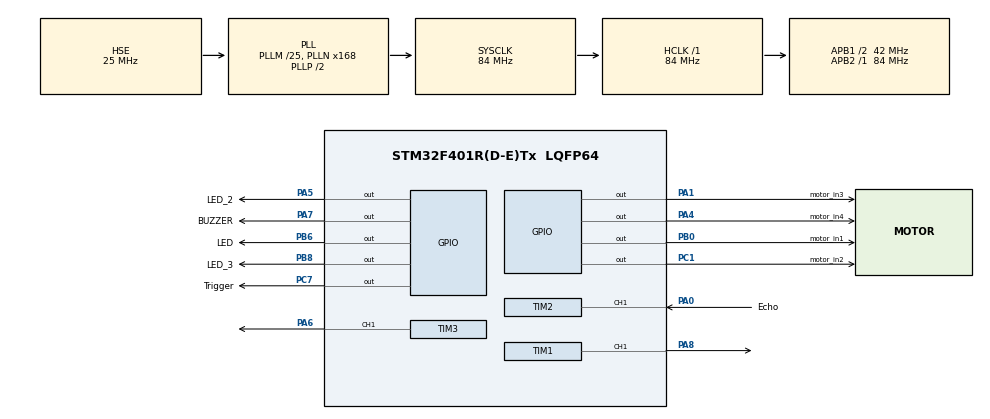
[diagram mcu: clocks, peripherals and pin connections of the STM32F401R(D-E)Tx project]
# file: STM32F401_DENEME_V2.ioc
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Mcu.Family=STM32F4
Mcu.Name=STM32F401R(D-E)Tx
Mcu.Package=LQFP64
NVIC.PriorityGroup=NVIC_PRIORITYGROUP_4
PA0-WKUP.GPIO_Label=Echo
PA0-WKUP.Signal=S_TIM2_CH1_ETR
PA1.GPIO_Label=motor_in3
PA1.Signal=GPIO_Output
PA13.Mode=Serial_Wire
PA13.Signal=SYS_JTMS-SWDIO
PA14.Mode=Serial_Wire
PA14.Signal=SYS_JTCK-SWCLK
PA4.GPIO_Label=motor_in4
PA4.Signal=GPIO_Output
PA5.GPIO_Label=LED_2
PA5.Signal=GPIO_Output
PA6.Signal=S_TIM3_CH1
PA7.GPIO_Label=BUZZER
PA7.Signal=GPIO_Output
PA8.Signal=S_TIM1_CH1
PB0.GPIO_Label=motor_in1
PB0.Signal=GPIO_Output
PB6.GPIO_Label=LED
PB6.Signal=GPIO_Output
PB8.GPIO_Label=LED_3
PB8.Signal=GPIO_Output
PC1.GPIO_Label=motor_in2
PC1.Signal=GPIO_Output
PC7.GPIO_Label=Trigger
PC7.Signal=GPIO_Output
PH0\ -\ OSC_IN.Mode=HSE-External-Oscillator
PH0\ -\ OSC_IN.Signal=RCC_OSC_IN
PH1\ -\ OSC_OUT.Mode=HSE-External-Oscillator
PH1\ -\ OSC_OUT.Signal=RCC_OSC_OUT
ProjectManager.HeapSize=0x200
ProjectManager.StackSize=0x400
ProjectManager.TargetToolchain=STM32CubeIDE
RCC.48MHZClocksFreq_Value=42000000
RCC.AHBFreq_Value=84000000
RCC.APB1CLKDivider=RCC_HCLK_DIV2
RCC.APB1Freq_Value=42000000
RCC.APB1TimFreq_Value=84000000
RCC.APB2Freq_Value=84000000
RCC.APB2TimFreq_Value=84000000
RCC.CortexFreq_Value=84000000
RCC.HCLKFreq_Value=84000000
RCC.HSE_VALUE=25000000
RCC.HSI_VALUE=16000000
RCC.LSE_VALUE=32768
RCC.PLLM=25
RCC.PLLN=168
RCC.PLLSourceVirtual=RCC_PLLSOURCE_HSE
RCC.SYSCLKFreq_VALUE=84000000
RCC.SYSCLKSource=RCC_SYSCLKSOURCE_PLLCLK
RCC.VCOOutputFreq_Value=168000000
SH.S_TIM1_CH1.0=TIM1_CH1,PWM Generation1 CH1
SH.S_TIM2_CH1_ETR.0=TIM2_CH1,Input_Capture1_from_TI1
SH.S_TIM3_CH1.0=TIM3_CH1,PWM Generation1 CH1
TIM1.Channel-PWM\ Generation1\ CH1=TIM_CHANNEL_1
TIM1.Period=1000
TIM1.Prescaler=84
TIM1.Pulse-PWM\ Generation1\ CH1=16
TIM2.Channel-Input_Capture1_from_TI1=TIM_CHANNEL_1
TIM2.Period=4294967295-1
TIM2.Prescaler=84-1
TIM3.Channel-PWM\ Generation1\ CH1=TIM_CHANNEL_1
TIM3.Period=1000
TIM3.Prescaler=84
TIM3.Pulse-PWM\ Generation1\ CH1=16
VP_TIM1_VS_ClockSourceINT.Mode=Internal
VP_TIM2_VS_ClockSourceINT.Mode=Internal
VP_TIM3_VS_ClockSourceINT.Mode=Internal
board=custom

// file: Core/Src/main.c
/* USER CODE BEGIN Header */
/**
  ******************************************************************************
  * @file           : main.c
  * @brief          : Main program body
  ******************************************************************************
  * @attention
  *
  * Copyright (c) 2023 STMicroelectronics.
  * All rights reserved.
  *
  * This software is licensed under terms that can be found in the LICENSE file
  * in the root directory of this software component.
  * If no LICENSE file comes with this software, it is provided AS-IS.
  *
  ******************************************************************************
  */
/* USER CODE END Header */
#include "main.h"

TIM_HandleTypeDef htim1;
TIM_HandleTypeDef htim2;
TIM_HandleTypeDef htim3;

/* USER CODE BEGIN PV */

uint32_t sensor_time; 						// Sensor suresini hesaplamak icin degisken tanimliyoruz
float distance =0; 						    // Mesafe bilgisini tutmak icin bir degisken tanimliyoruz

/* USER CODE END PV */

void SystemClock_Config(void);
static void MX_GPIO_Init(void);
static void MX_TIM1_Init(void);
static void MX_TIM2_Init(void);
static void MX_TIM3_Init(void);
/* USER CODE BEGIN PFP */

void delay(uint16_t us) 				    // Mikro saniye elde edebilmek icin bir fonksiyon
{
  __HAL_TIM_SET_COUNTER(&htim2,0);
  while(__HAL_TIM_GET_COUNTER(&htim2) < us);
}

float Sensor_Read() 				    	// Sensor suresini hesaplamak icin bir fonksiyon
{
	uint32_t time =0;

	HAL_GPIO_WritePin(Trigger_GPIO_Port, Trigger_Pin, GPIO_PIN_RESET);
	delay(2);
	HAL_GPIO_WritePin(Trigger_GPIO_Port, Trigger_Pin, GPIO_PIN_SET);
	delay(10);
	HAL_GPIO_WritePin(Trigger_GPIO_Port, Trigger_Pin, GPIO_PIN_RESET);

	while(!HAL_GPIO_ReadPin(Echo_GPIO_Port, Echo_Pin));
	while(HAL_GPIO_ReadPin(Echo_GPIO_Port, Echo_Pin))
	{
		time++;
		delay(1);
	}
	return time;
}

/* USER CODE END PFP */

int main(void)
{

  /* MCU Configuration----------------------------------------------------
   * ----*/

  /* Reset of all peripherals, Initializes the Flash interface and the Systick. */

    	HAL_Init();

  /* Configure the system clock */
  SystemClock_Config();

  /* Initialize all configured peripherals */
  MX_GPIO_Init();
  MX_TIM1_Init();
  MX_TIM2_Init();
  MX_TIM3_Init();
  /* USER CODE BEGIN 2 */

  HAL_TIM_PWM_Start(&htim1, TIM_CHANNEL_1);
  HAL_TIM_PWM_Start(&htim3, TIM_CHANNEL_1);
  HAL_TIM_Base_Start(&htim2);// TIMER'i baslatiyoruz

  /* USER CODE END 2 */

  /* Infinite loop */
  /* USER CODE BEGIN WHILE */
  while (1)
  {

	  sensor_time = Sensor_Read(); 	// sensorede gecen sureyi aliyoruz
      HAL_Delay(200);// 200 ms bekliyoruz
	  distance  = sensor_time * .034/2; // mesafeyi hesapliyoruz

	  HAL_GPIO_WritePin(LED_3_GPIO_Port, LED_3_Pin, GPIO_PIN_SET);
	  HAL_Delay(50);
	  HAL_GPIO_WritePin(LED_3_GPIO_Port, LED_3_Pin, GPIO_PIN_RESET);
	  HAL_Delay(50);
	  if(distance>=40){

				  HAL_GPIO_WritePin(GPIOA, motor_in3_Pin, GPIO_PIN_RESET);
				  HAL_GPIO_WritePin(GPIOA, motor_in4_Pin, GPIO_PIN_RESET);
				  HAL_GPIO_WritePin(GPIOB, motor_in1_Pin, GPIO_PIN_RESET);
				  HAL_GPIO_WritePin(GPIOC, motor_in2_Pin, GPIO_PIN_RESET);
				  TIM1->CCR1=0;
				  TIM3->CCR1=0;
				  HAL_Delay(500);

				  HAL_GPIO_WritePin(GPIOA, motor_in3_Pin, GPIO_PIN_SET);
				  HAL_GPIO_WritePin(GPIOA, motor_in4_Pin, GPIO_PIN_RESET);
				  HAL_GPIO_WritePin(GPIOB, motor_in1_Pin, GPIO_PIN_RESET);
				  HAL_GPIO_WritePin(GPIOC, motor_in2_Pin, GPIO_PIN_SET);
				  TIM1->CCR1=900;
				  TIM3->CCR1=900;
				  HAL_Delay(400);

				  HAL_GPIO_WritePin(GPIOA, motor_in3_Pin, GPIO_PIN_SET);
				  HAL_GPIO_WritePin(GPIOA, motor_in4_Pin, GPIO_PIN_RESET);
				  HAL_GPIO_WritePin(GPIOB, motor_in1_Pin, GPIO_PIN_RESET);
				  HAL_GPIO_WritePin(GPIOC, motor_in2_Pin, GPIO_PIN_RESET);
				  TIM1->CCR1=900;
				  TIM3->CCR1=900;
	  }else if(distance>=20 && distance<40){
					  HAL_GPIO_WritePin(GPIOA, motor_in3_Pin, GPIO_PIN_SET);
					  HAL_GPIO_WritePin(GPIOA, motor_in4_Pin, GPIO_PIN_RESET);
					  HAL_GPIO_WritePin(GPIOB, motor_in1_Pin, GPIO_PIN_RESET);
					  HAL_GPIO_WritePin(GPIOC, motor_in2_Pin, GPIO_PIN_SET);
					  TIM1->CCR1=900;
					  TIM3->CCR1=900;

				  } else if(distance>=10 && distance<20){
					  HAL_GPIO_WritePin(GPIOA, motor_in3_Pin, GPIO_PIN_SET);
					  HAL_GPIO_WritePin(GPIOA, motor_in4_Pin, GPIO_PIN_RESET);
					  HAL_GPIO_WritePin(GPIOB, motor_in1_Pin, GPIO_PIN_RESET);
					  HAL_GPIO_WritePin(GPIOC, motor_in2_Pin, GPIO_PIN_SET);
					  TIM1->CCR1=900;
					  TIM3->CCR1=900;
					  HAL_Delay(400);
					  HAL_GPIO_WritePin(GPIOA, motor_in3_Pin, GPIO_PIN_RESET);
					  HAL_GPIO_WritePin(GPIOA, motor_in4_Pin, GPIO_PIN_RESET);
					  HAL_GPIO_WritePin(GPIOB, motor_in1_Pin, GPIO_PIN_SET);
					  HAL_GPIO_WritePin(GPIOC, motor_in2_Pin, GPIO_PIN_RESET);
					  TIM1->CCR1=900;
					  TIM3->CCR1=900;
				  }
				  else if(distance>=6 && distance<10){
					  HAL_GPIO_WritePin(GPIOA, motor_in3_Pin, GPIO_PIN_RESET);
					  HAL_GPIO_WritePin(GPIOA, motor_in4_Pin, GPIO_PIN_RESET);
					  HAL_GPIO_WritePin(GPIOB, motor_in1_Pin, GPIO_PIN_RESET);
					  HAL_GPIO_WritePin(GPIOC, motor_in2_Pin, GPIO_PIN_RESET);
					  TIM1->CCR1=0;
					  TIM3->CCR1=0;
					  HAL_Delay(500);

				  HAL_GPIO_WritePin(GPIOA, motor_in3_Pin, GPIO_PIN_SET);
				  HAL_GPIO_WritePin(GPIOA, motor_in4_Pin, GPIO_PIN_RESET);
				  HAL_GPIO_WritePin(GPIOB, motor_in1_Pin, GPIO_PIN_RESET);
				  HAL_GPIO_WritePin(GPIOC, motor_in2_Pin, GPIO_PIN_SET);
				  TIM1->CCR1=900;
				  TIM3->CCR1=900;
				  HAL_Delay(400);

				  }else if(distance>=4 && distance<6){
				  HAL_GPIO_WritePin(LED_2_GPIO_Port, LED_2_Pin, GPIO_PIN_SET);
				  HAL_Delay(25);
				  HAL_GPIO_WritePin(LED_2_GPIO_Port, LED_2_Pin, GPIO_PIN_RESET);
				  HAL_Delay(25);

				  HAL_GPIO_WritePin(BUZZER_GPIO_Port, BUZZER_Pin, GPIO_PIN_SET);
				  HAL_Delay(25);
				  HAL_GPIO_WritePin(BUZZER_GPIO_Port, BUZZER_Pin, GPIO_PIN_RESET);
				  HAL_Delay(25);

				  HAL_GPIO_WritePin(LED_GPIO_Port, LED_Pin, GPIO_PIN_SET);
				  HAL_Delay(25);
				  HAL_GPIO_WritePin(LED_GPIO_Port, LED_Pin, GPIO_PIN_RESET);
				  HAL_Delay(25);

				  HAL_GPIO_WritePin(GPIOA, motor_in3_Pin, GPIO_PIN_RESET);
			      HAL_GPIO_WritePin(GPIOA, motor_in4_Pin, GPIO_PIN_SET);
			      HAL_GPIO_WritePin(GPIOB, motor_in1_Pin, GPIO_PIN_SET);
			      HAL_GPIO_WritePin(GPIOC, motor_in2_Pin, GPIO_PIN_RESET);
			      TIM1->CCR1=900;
			      TIM3->CCR1=900;
			      HAL_Delay(250);
			  }else if(distance>=0 && distance<4){
				  HAL_GPIO_WritePin(LED_2_GPIO_Port, LED_2_Pin, GPIO_PIN_SET);
				  HAL_Delay(25);
				  HAL_GPIO_WritePin(LED_2_GPIO_Port, LED_2_Pin, GPIO_PIN_RESET);
				  HAL_Delay(25);

				  HAL_GPIO_WritePin(BUZZER_GPIO_Port, BUZZER_Pin, GPIO_PIN_SET);
				  HAL_Delay(25);
				  HAL_GPIO_WritePin(BUZZER_GPIO_Port, BUZZER_Pin, GPIO_PIN_RESET);
				  HAL_Delay(25);

				  HAL_GPIO_WritePin(LED_GPIO_Port, LED_Pin, GPIO_PIN_SET);
				  HAL_Delay(25);
				  HAL_GPIO_WritePin(LED_GPIO_Port, LED_Pin, GPIO_PIN_RESET);
				  HAL_Delay(25);
				  HAL_GPIO_WritePin(GPIOA, motor_in3_Pin, GPIO_PIN_RESET);
				  HAL_GPIO_WritePin(GPIOA, motor_in4_Pin, GPIO_PIN_RESET);
				  HAL_GPIO_WritePin(GPIOB, motor_in1_Pin, GPIO_PIN_RESET);
				  HAL_GPIO_WritePin(GPIOC, motor_in2_Pin, GPIO_PIN_RESET);
				  TIM1->CCR1=0;
				  TIM3->CCR1=0;
				  HAL_Delay(300);

				    HAL_GPIO_WritePin(GPIOA, motor_in3_Pin, GPIO_PIN_RESET);
					HAL_GPIO_WritePin(GPIOA, motor_in4_Pin, GPIO_PIN_RESET);
			        HAL_GPIO_WritePin(GPIOB, motor_in1_Pin, GPIO_PIN_SET);
				    HAL_GPIO_WritePin(GPIOC, motor_in2_Pin, GPIO_PIN_RESET);
				    TIM1->CCR1=1000;
				    TIM3->CCR1=1000;
				    HAL_Delay(500);

				    HAL_GPIO_WritePin(GPIOA, motor_in3_Pin, GPIO_PIN_SET);
				    HAL_GPIO_WritePin(GPIOA, motor_in4_Pin, GPIO_PIN_RESET);
				    HAL_GPIO_WritePin(GPIOB, motor_in1_Pin, GPIO_PIN_RESET);
				    HAL_GPIO_WritePin(GPIOC, motor_in2_Pin, GPIO_PIN_RESET);
				    TIM1->CCR1=900;
				    TIM3->CCR1=900;
				    HAL_Delay(400);

			  }

				  }
			  }

//	  if(distance>=3 && distance<=5)
//	  {
//		  HAL_GPIO_WritePin(LED_2_GPIO_Port, LED_2_Pin, GPIO_PIN_SET);
//		  HAL_Delay(50);
//		  HAL_GPIO_WritePin(LED_2_GPIO_Port, LED_2_Pin, GPIO_PIN_RESET);
//
//		  HAL_GPIO_WritePin(BUZZER_GPIO_Port, BUZZER_Pin, GPIO_PIN_SET);
//		  HAL_Delay(25);
//		  HAL_GPIO_WritePin(BUZZER_GPIO_Port, BUZZER_Pin, GPIO_PIN_RESET);
//
//		  HAL_GPIO_WritePin(LED_GPIO_Port, LED_Pin, GPIO_PIN_SET);
//		  HAL_Delay(25);
//		  HAL_GPIO_WritePin(LED_GPIO_Port, LED_Pin, GPIO_PIN_RESET);
//
//		  distance=2;
//		  if(distance==2){
//			  distance=2;
//			HAL_GPIO_WritePin(GPIOA, motor_in3_Pin, GPIO_PIN_SET);
//			HAL_GPIO_WritePin(GPIOA, motor_in4_Pin, GPIO_PIN_RESET);
//			HAL_GPIO_WritePin(GPIOB, motor_in1_Pin, GPIO_PIN_RESET);
//			HAL_GPIO_WritePin(GPIOC, motor_in2_Pin, GPIO_PIN_SET);
//			TIM1->CCR1=700;
//			TIM3->CCR1=700;
//
//			HAL_GPIO_WritePin(GPIOA, motor_in3_Pin, GPIO_PIN_SET);
//			HAL_GPIO_WritePin(GPIOA, motor_in4_Pin, GPIO_PIN_RESET);
//			HAL_GPIO_WritePin(GPIOB, motor_in1_Pin, GPIO_PIN_RESET);
//			HAL_GPIO_WritePin(GPIOC, motor_in2_Pin, GPIO_PIN_RESET);
//			TIM1->CCR1=700;
//			TIM3->CCR1=700;
//
//			HAL_GPIO_WritePin(GPIOA, motor_in3_Pin, GPIO_PIN_RESET);
//			HAL_GPIO_WritePin(GPIOA, motor_in4_Pin, GPIO_PIN_RESET);
//			HAL_GPIO_WritePin(GPIOB, motor_in1_Pin, GPIO_PIN_RESET);
//			HAL_GPIO_WritePin(GPIOC, motor_in2_Pin, GPIO_PIN_SET);
//			TIM1->CCR1=700;
//			TIM3->CCR1=700;

//			HAL_GPIO_WritePin(GPIOA, motor_in3_Pin, GPIO_PIN_SET);
//		    HAL_GPIO_WritePin(GPIOA, motor_in4_Pin, GPIO_PIN_RESET);
//		    HAL_GPIO_WritePin(GPIOB, motor_in1_Pin, GPIO_PIN_RESET);
//		    HAL_GPIO_WritePin(GPIOC, motor_in2_Pin, GPIO_PIN_SET);
//		    TIM1->CCR1=;
//		    TIM3->CCR1=0;
//		    HAL_Delay(100);
//
//			HAL_GPIO_WritePin(GPIOA, motor_in3_Pin, GPIO_PIN_RESET);
//		    HAL_GPIO_WritePin(GPIOA, motor_in4_Pin, GPIO_PIN_RESET);
//		    HAL_GPIO_WritePin(GPIOB, motor_in1_Pin, GPIO_PIN_RESET);
//		    HAL_GPIO_WritePin(GPIOC, motor_in2_Pin, GPIO_PIN_RESET);
//		    TIM1->CCR1=0;
//		    TIM3->CCR1=0;
//		    HAL_Delay(100);
//		  }
//	  }
//	  if(distance>=4.0001){
//
//		  HAL_GPIO_WritePin(GPIOA, motor_in3_Pin, GPIO_PIN_SET);
//		  HAL_GPIO_WritePin(GPIOA, motor_in4_Pin, GPIO_PIN_RESET);
//		  HAL_GPIO_WritePin(GPIOB, motor_in1_Pin, GPIO_PIN_RESET);
//		  HAL_GPIO_WritePin(GPIOC, motor_in2_Pin, GPIO_PIN_SET);
//		  TIM1->CCR1=700;
//		  TIM3->CCR1=700;
//	  }

    /* USER CODE END WHILE */

void SystemClock_Config(void)
{
  RCC_OscInitTypeDef RCC_OscInitStruct = {0};
  RCC_ClkInitTypeDef RCC_ClkInitStruct = {0};

  /** Configure the main internal regulator output voltage
  */
  __HAL_RCC_PWR_CLK_ENABLE();
  __HAL_PWR_VOLTAGESCALING_CONFIG(PWR_REGULATOR_VOLTAGE_SCALE2);

  /** Initializes the RCC Oscillators according to the specified parameters
  * in the RCC_OscInitTypeDef structure.
  */
  RCC_OscInitStruct.OscillatorType = RCC_OSCILLATORTYPE_HSE;
  RCC_OscInitStruct.HSEState = RCC_HSE_ON;
  RCC_OscInitStruct.PLL.PLLState = RCC_PLL_ON;
  RCC_OscInitStruct.PLL.PLLSource = RCC_PLLSOURCE_HSE;
  RCC_OscInitStruct.PLL.PLLM = 25;
  RCC_OscInitStruct.PLL.PLLN = 168;
  RCC_OscInitStruct.PLL.PLLP = RCC_PLLP_DIV2;
  RCC_OscInitStruct.PLL.PLLQ = 4;
  if (HAL_RCC_OscConfig(&RCC_OscInitStruct) != HAL_OK)
  {
    Error_Handler();
  }

  /** Initializes the CPU, AHB and APB buses clocks
  */
  RCC_ClkInitStruct.ClockType = RCC_CLOCKTYPE_HCLK|RCC_CLOCKTYPE_SYSCLK
                              |RCC_CLOCKTYPE_PCLK1|RCC_CLOCKTYPE_PCLK2;
  RCC_ClkInitStruct.SYSCLKSource = RCC_SYSCLKSOURCE_PLLCLK;
  RCC_ClkInitStruct.AHBCLKDivider = RCC_SYSCLK_DIV1;
  RCC_ClkInitStruct.APB1CLKDivider = RCC_HCLK_DIV2;
  RCC_ClkInitStruct.APB2CLKDivider = RCC_HCLK_DIV1;

  if (HAL_RCC_ClockConfig(&RCC_ClkInitStruct, FLASH_LATENCY_2) != HAL_OK)
  {
    Error_Handler();
  }
}

static void MX_TIM1_Init(void)
{

  TIM_ClockConfigTypeDef sClockSourceConfig = {0};
  TIM_MasterConfigTypeDef sMasterConfig = {0};
  TIM_OC_InitTypeDef sConfigOC = {0};
  TIM_BreakDeadTimeConfigTypeDef sBreakDeadTimeConfig = {0};

  htim1.Instance = TIM1;
  htim1.Init.Prescaler = 84;
  htim1.Init.CounterMode = TIM_COUNTERMODE_UP;
  htim1.Init.Period = 1000;
  htim1.Init.ClockDivision = TIM_CLOCKDIVISION_DIV1;
  htim1.Init.RepetitionCounter = 0;
  htim1.Init.AutoReloadPreload = TIM_AUTORELOAD_PRELOAD_DISABLE;
  if (HAL_TIM_Base_Init(&htim1) != HAL_OK)
  {
    Error_Handler();
  }
  sClockSourceConfig.ClockSource = TIM_CLOCKSOURCE_INTERNAL;
  if (HAL_TIM_ConfigClockSource(&htim1, &sClockSourceConfig) != HAL_OK)
  {
    Error_Handler();
  }
  if (HAL_TIM_PWM_Init(&htim1) != HAL_OK)
  {
    Error_Handler();
  }
  sMasterConfig.MasterOutputTrigger = TIM_TRGO_RESET;
  sMasterConfig.MasterSlaveMode = TIM_MASTERSLAVEMODE_DISABLE;
  if (HAL_TIMEx_MasterConfigSynchronization(&htim1, &sMasterConfig) != HAL_OK)
  {
    Error_Handler();
  }
  sConfigOC.OCMode = TIM_OCMODE_PWM1;
  sConfigOC.Pulse = 16;
  sConfigOC.OCPolarity = TIM_OCPOLARITY_HIGH;
  sConfigOC.OCNPolarity = TIM_OCNPOLARITY_HIGH;
  sConfigOC.OCFastMode = TIM_OCFAST_DISABLE;
  sConfigOC.OCIdleState = TIM_OCIDLESTATE_RESET;
  sConfigOC.OCNIdleState = TIM_OCNIDLESTATE_RESET;
  if (HAL_TIM_PWM_ConfigChannel(&htim1, &sConfigOC, TIM_CHANNEL_1) != HAL_OK)
  {
    Error_Handler();
  }
  sBreakDeadTimeConfig.OffStateRunMode = TIM_OSSR_DISABLE;
  sBreakDeadTimeConfig.OffStateIDLEMode = TIM_OSSI_DISABLE;
  sBreakDeadTimeConfig.LockLevel = TIM_LOCKLEVEL_OFF;
  sBreakDeadTimeConfig.DeadTime = 0;
  sBreakDeadTimeConfig.BreakState = TIM_BREAK_DISABLE;
  sBreakDeadTimeConfig.BreakPolarity = TIM_BREAKPOLARITY_HIGH;
  sBreakDeadTimeConfig.AutomaticOutput = TIM_AUTOMATICOUTPUT_DISABLE;
  if (HAL_TIMEx_ConfigBreakDeadTime(&htim1, &sBreakDeadTimeConfig) != HAL_OK)
  {
    Error_Handler();
  }
  HAL_TIM_MspPostInit(&htim1);

}

static void MX_TIM2_Init(void)
{

  TIM_ClockConfigTypeDef sClockSourceConfig = {0};
  TIM_MasterConfigTypeDef sMasterConfig = {0};
  TIM_IC_InitTypeDef sConfigIC = {0};

  htim2.Instance = TIM2;
  htim2.Init.Prescaler = 84-1;
  htim2.Init.CounterMode = TIM_COUNTERMODE_UP;
  htim2.Init.Period = 4294967295-1;
  htim2.Init.ClockDivision = TIM_CLOCKDIVISION_DIV1;
  htim2.Init.AutoReloadPreload = TIM_AUTORELOAD_PRELOAD_DISABLE;
  if (HAL_TIM_Base_Init(&htim2) != HAL_OK)
  {
    Error_Handler();
  }
  sClockSourceConfig.ClockSource = TIM_CLOCKSOURCE_INTERNAL;
  if (HAL_TIM_ConfigClockSource(&htim2, &sClockSourceConfig) != HAL_OK)
  {
    Error_Handler();
  }
  if (HAL_TIM_IC_Init(&htim2) != HAL_OK)
  {
    Error_Handler();
  }
  sMasterConfig.MasterOutputTrigger = TIM_TRGO_RESET;
  sMasterConfig.MasterSlaveMode = TIM_MASTERSLAVEMODE_DISABLE;
  if (HAL_TIMEx_MasterConfigSynchronization(&htim2, &sMasterConfig) != HAL_OK)
  {
    Error_Handler();
  }
  sConfigIC.ICPolarity = TIM_INPUTCHANNELPOLARITY_RISING;
  sConfigIC.ICSelection = TIM_ICSELECTION_DIRECTTI;
  sConfigIC.ICPrescaler = TIM_ICPSC_DIV1;
  sConfigIC.ICFilter = 0;
  if (HAL_TIM_IC_ConfigChannel(&htim2, &sConfigIC, TIM_CHANNEL_1) != HAL_OK)
  {
    Error_Handler();
  }

}

static void MX_TIM3_Init(void)
{

  TIM_ClockConfigTypeDef sClockSourceConfig = {0};
  TIM_MasterConfigTypeDef sMasterConfig = {0};
  TIM_OC_InitTypeDef sConfigOC = {0};

  htim3.Instance = TIM3;
  htim3.Init.Prescaler = 84;
  htim3.Init.CounterMode = TIM_COUNTERMODE_UP;
  htim3.Init.Period = 1000;
  htim3.Init.ClockDivision = TIM_CLOCKDIVISION_DIV1;
  htim3.Init.AutoReloadPreload = TIM_AUTORELOAD_PRELOAD_DISABLE;
  if (HAL_TIM_Base_Init(&htim3) != HAL_OK)
  {
    Error_Handler();
  }
  sClockSourceConfig.ClockSource = TIM_CLOCKSOURCE_INTERNAL;
  if (HAL_TIM_ConfigClockSource(&htim3, &sClockSourceConfig) != HAL_OK)
  {
    Error_Handler();
  }
  if (HAL_TIM_PWM_Init(&htim3) != HAL_OK)
  {
    Error_Handler();
  }
  sMasterConfig.MasterOutputTrigger = TIM_TRGO_RESET;
  sMasterConfig.MasterSlaveMode = TIM_MASTERSLAVEMODE_DISABLE;
  if (HAL_TIMEx_MasterConfigSynchronization(&htim3, &sMasterConfig) != HAL_OK)
  {
    Error_Handler();
  }
  sConfigOC.OCMode = TIM_OCMODE_PWM1;
  sConfigOC.Pulse = 16;
  sConfigOC.OCPolarity = TIM_OCPOLARITY_HIGH;
  sConfigOC.OCFastMode = TIM_OCFAST_DISABLE;
  if (HAL_TIM_PWM_ConfigChannel(&htim3, &sConfigOC, TIM_CHANNEL_1) != HAL_OK)
  {
    Error_Handler();
  }
  HAL_TIM_MspPostInit(&htim3);

}

static void MX_GPIO_Init(void)
{
  GPIO_InitTypeDef GPIO_InitStruct = {0};

  /* GPIO Ports Clock Enable */
  __HAL_RCC_GPIOH_CLK_ENABLE();
  __HAL_RCC_GPIOC_CLK_ENABLE();
  __HAL_RCC_GPIOA_CLK_ENABLE();
  __HAL_RCC_GPIOB_CLK_ENABLE();

  /*Configure GPIO pin Output Level */
  HAL_GPIO_WritePin(GPIOC, motor_in2_Pin|Trigger_Pin, GPIO_PIN_RESET);

  /*Configure GPIO pin Output Level */
  HAL_GPIO_WritePin(GPIOA, motor_in3_Pin|motor_in4_Pin|LED_2_Pin|BUZZER_Pin, GPIO_PIN_RESET);

  /*Configure GPIO pin Output Level */
  HAL_GPIO_WritePin(GPIOB, motor_in1_Pin|LED_Pin|LED_3_Pin, GPIO_PIN_RESET);

  /*Configure GPIO pins : motor_in2_Pin Trigger_Pin */
  GPIO_InitStruct.Pin = motor_in2_Pin|Trigger_Pin;
  GPIO_InitStruct.Mode = GPIO_MODE_OUTPUT_PP;
  GPIO_InitStruct.Pull = GPIO_NOPULL;
  GPIO_InitStruct.Speed = GPIO_SPEED_FREQ_LOW;
  HAL_GPIO_Init(GPIOC, &GPIO_InitStruct);

  /*Configure GPIO pins : motor_in3_Pin motor_in4_Pin LED_2_Pin BUZZER_Pin */
  GPIO_InitStruct.Pin = motor_in3_Pin|motor_in4_Pin|LED_2_Pin|BUZZER_Pin;
  GPIO_InitStruct.Mode = GPIO_MODE_OUTPUT_PP;
  GPIO_InitStruct.Pull = GPIO_NOPULL;
  GPIO_InitStruct.Speed = GPIO_SPEED_FREQ_LOW;
  HAL_GPIO_Init(GPIOA, &GPIO_InitStruct);

  /*Configure GPIO pins : motor_in1_Pin LED_Pin LED_3_Pin */
  GPIO_InitStruct.Pin = motor_in1_Pin|LED_Pin|LED_3_Pin;
  GPIO_InitStruct.Mode = GPIO_MODE_OUTPUT_PP;
  GPIO_InitStruct.Pull = GPIO_NOPULL;
  GPIO_InitStruct.Speed = GPIO_SPEED_FREQ_LOW;
  HAL_GPIO_Init(GPIOB, &GPIO_InitStruct);

}

void Error_Handler(void)
{
  __disable_irq();
  while (1)
  {
  }
}
